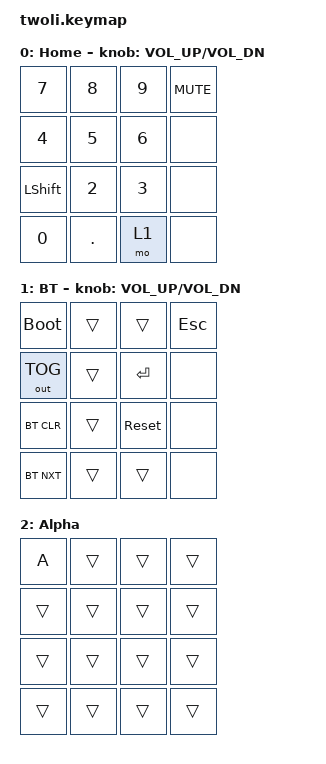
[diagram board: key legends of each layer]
#include <behaviors.dtsi>
#include <dt-bindings/zmk/keys.h>
#include <dt-bindings/zmk/outputs.h>
#include <dt-bindings/zmk/bt.h>

/ {
    keymap {
        compatible = "zmk,keymap";

        Home {
            label = "Home";
            bindings = <
        &kp N7   &kp N8  &kp N9  &kp C_MUTE
        &kp N4   &kp N5  &kp N6       &none
&kp LEFT_SHIFT   &kp N2  &kp N3       &none
        &kp N0  &kp DOT   &mo 1       &none
            >;

            sensor-bindings = <&inc_dec_kp C_VOL_UP C_VOL_DN>;
        };

        New {
            label = "BT";
            bindings = <
 &bootloader  &trans      &trans  &kp ESC
&out OUT_TOG  &trans     &kp RET    &none
  &bt BT_CLR  &trans  &sys_reset    &none
  &bt BT_NXT  &trans      &trans    &none
            >;

            sensor-bindings = <&inc_dec_kp C_VOL_UP C_VOL_DN>;
        };

        Alpha {
            bindings = <
 &kp A  &trans  &trans  &trans
&trans  &trans  &trans  &trans
&trans  &trans  &trans  &trans
&trans  &trans  &trans  &trans
            >;
        };
    };
};
